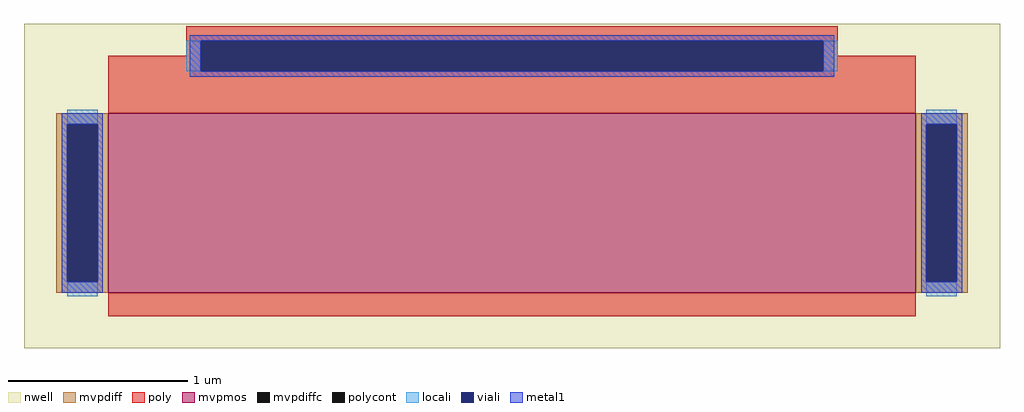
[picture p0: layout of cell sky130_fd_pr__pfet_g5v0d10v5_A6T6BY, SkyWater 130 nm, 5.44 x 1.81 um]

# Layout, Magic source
magic
tech sky130A
magscale 1 2
<< nwell >>
rect -544 -198 544 164
<< mvpmos >>
rect -450 -136 450 64
<< mvpdiff >>
rect -508 52 -450 64
rect -508 -124 -496 52
rect -462 -124 -450 52
rect -508 -136 -450 -124
rect 450 52 508 64
rect 450 -124 462 52
rect 496 -124 508 52
rect 450 -136 508 -124
<< mvpdiffc >>
rect -496 -124 -462 52
rect 462 -124 496 52
<< poly >>
rect -363 145 363 161
rect -363 128 -347 145
rect -450 111 -347 128
rect 347 128 363 145
rect 347 111 450 128
rect -450 64 450 111
rect -450 -162 450 -136
<< polycont >>
rect -347 111 347 145
<< locali >>
rect -363 111 -347 145
rect 347 111 363 145
rect -496 52 -462 68
rect -496 -140 -462 -124
rect 462 52 496 68
rect 462 -140 496 -124
<< viali >>
rect -347 111 347 145
rect -496 -124 -462 52
rect 462 -124 496 52
<< metal1 >>
rect -359 145 359 151
rect -359 111 -347 145
rect 347 111 359 145
rect -359 105 359 111
rect -502 52 -456 64
rect -502 -124 -496 52
rect -462 -124 -456 52
rect -502 -136 -456 -124
rect 456 52 502 64
rect 456 -124 462 52
rect 496 -124 502 52
rect 456 -136 502 -124
<< properties >>
string gencell sky130_fd_pr__pfet_g5v0d10v5
string library sky130
string parameters w 1 l 4.5 m 1 nf 1 diffcov 100 polycov 80 guard 0 glc 0 grc 0 gtc 1 gbc 1 tbcov 100 rlcov 100 topc 1 botc 0 poverlap 0 doverlap 1 lmin 0.50 wmin 0.42 class mosfet compatible {sky130_fd_pr__pfet_01v8  sky130_fd_pr__pfet_01v8_lvt sky130_fd_pr__pfet_01v8_hvt  sky130_fd_pr__pfet_g5v0d10v5} full_metal 1 viasrc 100 viadrn 100 viagate 80 viagb 0 viagr 0 viagl 0 viagt 0
<< end >>
